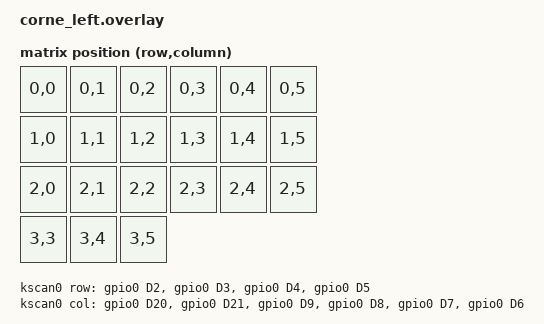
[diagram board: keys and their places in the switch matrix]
/ {
    chosen {
        zmk,kscan = &kscan0;
    };

    kscan0: kscan {
        compatible = "zmk,kscan-gpio-matrix";
        diode-direction = "col2row";

        row-gpios = <&gpio0 D2 GPIO_ACTIVE_HIGH>,
                    <&gpio0 D3 GPIO_ACTIVE_HIGH>,
                    <&gpio0 D4 GPIO_ACTIVE_HIGH>,
                    <&gpio0 D5 GPIO_ACTIVE_HIGH>;

        col-gpios = <&gpio0 D20 GPIO_ACTIVE_HIGH>,
                    <&gpio0 D21 GPIO_ACTIVE_HIGH>,
                    <&gpio0 D9  GPIO_ACTIVE_HIGH>,
                    <&gpio0 D8  GPIO_ACTIVE_HIGH>,
                    <&gpio0 D7  GPIO_ACTIVE_HIGH>,
                    <&gpio0 D6  GPIO_ACTIVE_HIGH>;
    };
    default_transform: matrix_transform {
        compatible = "zmk,matrix_transform";
            row = <4>
            columns = <6>;

            map = <
                RC(0,0) RC(0,1) RC(0,2) RC(0,3) RC(0,4) RC(0,5)
                RC(1,0) RC(1,1) RC(1,2) RC(1,3) RC(1,4) RC(1,5)
                RC(2,0) RC(2,1) RC(2,2) RC(2,3) RC(2,4) RC(2,5)
                RC(3,3) RC(3,4) RC(3,5)
            >;
    }
};
